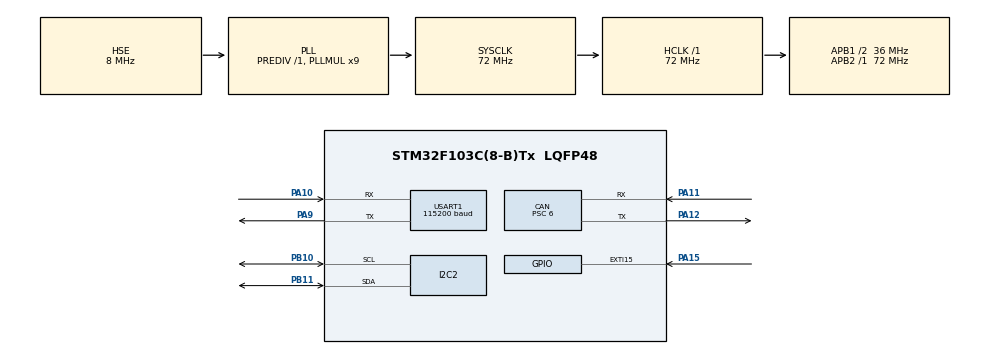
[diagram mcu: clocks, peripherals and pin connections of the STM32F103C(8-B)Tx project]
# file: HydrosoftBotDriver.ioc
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CAN.BS1=CAN_BS1_4TQ
CAN.CalculateBaudRate=999999
CAN.CalculateTimeBit=1000
CAN.CalculateTimeQuantum=166.66666666666669
CAN.Prescaler=6
Dma.Request0=USART1_TX
Dma.Request1=USART1_RX
Dma.USART1_RX.1.Direction=DMA_PERIPH_TO_MEMORY
Dma.USART1_RX.1.Instance=DMA1_Channel5
Dma.USART1_RX.1.MemDataAlignment=DMA_MDATAALIGN_BYTE
Dma.USART1_RX.1.MemInc=DMA_MINC_ENABLE
Dma.USART1_RX.1.Mode=DMA_NORMAL
Dma.USART1_RX.1.PeriphDataAlignment=DMA_PDATAALIGN_BYTE
Dma.USART1_RX.1.PeriphInc=DMA_PINC_DISABLE
Dma.USART1_RX.1.Priority=DMA_PRIORITY_VERY_HIGH
Dma.USART1_TX.0.Direction=DMA_MEMORY_TO_PERIPH
Dma.USART1_TX.0.Instance=DMA1_Channel4
Dma.USART1_TX.0.MemDataAlignment=DMA_MDATAALIGN_BYTE
Dma.USART1_TX.0.MemInc=DMA_MINC_ENABLE
Dma.USART1_TX.0.Mode=DMA_NORMAL
Dma.USART1_TX.0.PeriphDataAlignment=DMA_PDATAALIGN_BYTE
Dma.USART1_TX.0.PeriphInc=DMA_PINC_DISABLE
Dma.USART1_TX.0.Priority=DMA_PRIORITY_HIGH
FREERTOS.INCLUDE_vTaskDelayUntil=1
FREERTOS.MEMORY_ALLOCATION=1
FREERTOS.Tasks01=sensorTask,2,1024,sensorTaskFunc,Default,NULL,Static,sensorTaskBuffer,sensorTaskControlBlock;communicationTa,1,1024,communicationTaskFunc,Default,NULL,Static,communicationTaskBuffer,communicationTaskControlBlock
FREERTOS.configUSE_NEWLIB_REENTRANT=1
I2C2.I2C_Mode=I2C_Fast
Mcu.Family=STM32F1
Mcu.Name=STM32F103C(8-B)Tx
Mcu.Package=LQFP48
NVIC.CAN1_RX1_IRQn=true\:5\:0\:false\:false\:true\:true\:true\:true
NVIC.DMA1_Channel4_IRQn=true\:5\:0\:false\:false\:true\:true\:false\:true
NVIC.DMA1_Channel5_IRQn=true\:5\:0\:false\:false\:true\:true\:false\:true
NVIC.EXTI15_10_IRQn=true\:5\:0\:false\:false\:true\:true\:true\:true
NVIC.I2C2_EV_IRQn=true\:5\:0\:false\:false\:true\:true\:true\:true
NVIC.PriorityGroup=NVIC_PRIORITYGROUP_4
NVIC.TIM3_IRQn=true\:15\:0\:false\:false\:true\:false\:true\:true
NVIC.TimeBase=TIM3_IRQn
NVIC.TimeBaseIP=TIM3
NVIC.USART1_IRQn=true\:5\:0\:false\:false\:true\:true\:true\:true
NVIC.USB_LP_CAN1_RX0_IRQn=true\:5\:0\:false\:false\:true\:true\:true\:true
PA10.Mode=Asynchronous
PA10.Signal=USART1_RX
PA11.Mode=CAN_Activate
PA11.Signal=CAN_RX
PA12.Mode=CAN_Activate
PA12.Signal=CAN_TX
PA13.Mode=Serial_Wire
PA13.Signal=SYS_JTMS-SWDIO
PA14.Mode=Serial_Wire
PA14.Signal=SYS_JTCK-SWCLK
PA15.GPIO_ModeDefaultEXTI=GPIO_MODE_IT_FALLING
PA15.GPIO_PuPd=GPIO_PULLUP
PA15.Signal=GPXTI15
PA9.Mode=Asynchronous
PA9.Signal=USART1_TX
PB10.Mode=I2C
PB10.Signal=I2C2_SCL
PB11.Mode=I2C
PB11.Signal=I2C2_SDA
PD0-OSC_IN.Mode=HSE-External-Oscillator
PD0-OSC_IN.Signal=RCC_OSC_IN
PD1-OSC_OUT.Mode=HSE-External-Oscillator
PD1-OSC_OUT.Signal=RCC_OSC_OUT
ProjectManager.HeapSize=0x200
ProjectManager.StackSize=0x400
ProjectManager.TargetToolchain=STM32CubeIDE
RCC.AHBFreq_Value=72000000
RCC.APB1CLKDivider=RCC_HCLK_DIV2
RCC.APB1Freq_Value=36000000
RCC.APB1TimFreq_Value=72000000
RCC.APB2Freq_Value=72000000
RCC.APB2TimFreq_Value=72000000
RCC.HCLKFreq_Value=72000000
RCC.PLLMUL=RCC_PLL_MUL9
RCC.PLLSourceVirtual=RCC_PLLSOURCE_HSE
RCC.SYSCLKFreq_VALUE=72000000
RCC.SYSCLKSource=RCC_SYSCLKSOURCE_PLLCLK
RCC.USBFreq_Value=72000000
USART1.BaudRate=115200
USART1.VirtualMode=VM_ASYNC
VP_CRC_VS_CRC.Mode=CRC_Activate
VP_FREERTOS_VS_CMSIS_V1.Mode=CMSIS_V1
VP_SYS_VS_tim3.Mode=TIM3
VP_TIM2_VS_ClockSourceINT.Mode=Internal
board=custom

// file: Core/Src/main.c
/* USER CODE BEGIN Header */
/**
  ******************************************************************************
  * @file           : main.c
  * @brief          : Main program body
  ******************************************************************************
  * @attention
  *
  * <h2><center>&copy; Copyright (c) 2021 STMicroelectronics.
  * All rights reserved.</center></h2>
  *
  * This software component is licensed by ST under Ultimate Liberty license
  * SLA0044, the "License"; You may not use this file except in compliance with
  * the License. You may obtain a copy of the License at:
  *                             www.st.com/SLA0044
  *
  ******************************************************************************
  */
/* USER CODE END Header */
#include "main.h"
#include "cmsis_os.h"
#include "can.h"
#include "crc.h"
#include "dma.h"
#include "i2c.h"
#include "tim.h"
#include "usart.h"
#include "gpio.h"

/* USER CODE BEGIN Includes */
#include "myMain.h"
#include "ads1115.h"
#include "myUsartFunction.h"
/* USER CODE END Includes */

void SystemClock_Config(void);
void MX_FREERTOS_Init(void);

int main(void)
{

  /* MCU Configuration--------------------------------------------------------*/

  /* Reset of all peripherals, Initializes the Flash interface and the Systick. */
  HAL_Init();

  /* Configure the system clock */
  SystemClock_Config();

  /* Initialize all configured peripherals */
  MX_GPIO_Init();
  MX_CAN_Init();
  MX_CRC_Init();
  MX_I2C2_Init();
  MX_TIM2_Init();
  MX_DMA_Init();
  MX_USART1_UART_Init();
  /* USER CODE BEGIN 2 */
  setup();

  /* USER CODE END 2 */

  /* Call init function for freertos objects (in freertos.c) */
  MX_FREERTOS_Init();
  /* Start scheduler */
  osKernelStart();

  /* We should never get here as control is now taken by the scheduler */
  /* Infinite loop */
  while (1)
  {

  }
}

void SystemClock_Config(void)
{
  RCC_OscInitTypeDef RCC_OscInitStruct = {0};
  RCC_ClkInitTypeDef RCC_ClkInitStruct = {0};

  /** Initializes the RCC Oscillators according to the specified parameters
  * in the RCC_OscInitTypeDef structure.
  */
  RCC_OscInitStruct.OscillatorType = RCC_OSCILLATORTYPE_HSE;
  RCC_OscInitStruct.HSEState = RCC_HSE_ON;
  RCC_OscInitStruct.HSEPredivValue = RCC_HSE_PREDIV_DIV1;
  RCC_OscInitStruct.HSIState = RCC_HSI_ON;
  RCC_OscInitStruct.PLL.PLLState = RCC_PLL_ON;
  RCC_OscInitStruct.PLL.PLLSource = RCC_PLLSOURCE_HSE;
  RCC_OscInitStruct.PLL.PLLMUL = RCC_PLL_MUL9;
  if (HAL_RCC_OscConfig(&RCC_OscInitStruct) != HAL_OK)
  {
    Error_Handler();
  }
  /** Initializes the CPU, AHB and APB buses clocks
  */
  RCC_ClkInitStruct.ClockType = RCC_CLOCKTYPE_HCLK|RCC_CLOCKTYPE_SYSCLK
                              |RCC_CLOCKTYPE_PCLK1|RCC_CLOCKTYPE_PCLK2;
  RCC_ClkInitStruct.SYSCLKSource = RCC_SYSCLKSOURCE_PLLCLK;
  RCC_ClkInitStruct.AHBCLKDivider = RCC_SYSCLK_DIV1;
  RCC_ClkInitStruct.APB1CLKDivider = RCC_HCLK_DIV2;
  RCC_ClkInitStruct.APB2CLKDivider = RCC_HCLK_DIV1;

  if (HAL_RCC_ClockConfig(&RCC_ClkInitStruct, FLASH_LATENCY_2) != HAL_OK)
  {
    Error_Handler();
  }
}

/* USER CODE BEGIN 4 */
void HAL_GPIO_EXTI_Callback(uint16_t GPIO_Pin){
//	if(GPIO_Pin == GPIO_PIN_15){
//		ads1115_Callback();
//		ads1115_Unblocked_Callback();
//	}
}
extern uint8_t grxBuf[12];
void HAL_UARTEx_RxEventCallback(UART_HandleTypeDef *huart, uint16_t Size){

	if(Size == 12 && grxBuf[0] == 0x5a && grxBuf[1] == 0x5a){
		serialCallback();
	}
}

/* USER CODE END 4 */

void HAL_TIM_PeriodElapsedCallback(TIM_HandleTypeDef *htim)
{
  if (htim->Instance == TIM3) {
    HAL_IncTick();
  }
}

void Error_Handler(void)
{
  __disable_irq();
  while (1)
  {
  }
}

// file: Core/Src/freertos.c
/* USER CODE BEGIN Header */
/**
 ******************************************************************************
 * File Name          : freertos.c
 * Description        : Code for freertos applications
 ******************************************************************************
 * @attention
 *
 * <h2><center>&copy; Copyright (c) 2021 STMicroelectronics.
 * All rights reserved.</center></h2>
 *
 * This software component is licensed by ST under Ultimate Liberty license
 * SLA0044, the "License"; You may not use this file except in compliance with
 * the License. You may obtain a copy of the License at:
 *                             www.st.com/SLA0044
 *
 ******************************************************************************
 */
/* USER CODE END Header */

#include "FreeRTOS.h"
#include "task.h"
#include "main.h"
#include "cmsis_os.h"

/* USER CODE BEGIN Includes */
#include "myMain.h"
#include "HydroDriveLL.h"
int32_t globalSensorTaskPeriod = 10;      //10 ms period for loop()  (100Hz)
int32_t globalCommunicationTaskPeriod = 5;     //5 ms period for loop2()  (200Hz)

/* USER CODE END Includes */

osThreadId sensorTaskHandle;
uint32_t sensorTaskBuffer[ 1024 ];
osStaticThreadDef_t sensorTaskControlBlock;
osThreadId communicationTaHandle;
uint32_t communicationTaskBuffer[ 1024 ];
osStaticThreadDef_t communicationTaskControlBlock;

void sensorTaskFunc(void const * argument);
void communicationTaskFunc(void const * argument);

void MX_FREERTOS_Init(void); /* (MISRA C 2004 rule 8.1) */

/* GetIdleTaskMemory prototype (linked to static allocation support) */
void vApplicationGetIdleTaskMemory( StaticTask_t **ppxIdleTaskTCBBuffer, StackType_t **ppxIdleTaskStackBuffer, uint32_t *pulIdleTaskStackSize );

/* USER CODE BEGIN GET_IDLE_TASK_MEMORY */
static StaticTask_t xIdleTaskTCBBuffer;
static StackType_t xIdleStack[configMINIMAL_STACK_SIZE];

void vApplicationGetIdleTaskMemory(StaticTask_t **ppxIdleTaskTCBBuffer,
		StackType_t **ppxIdleTaskStackBuffer, uint32_t *pulIdleTaskStackSize) {
	*ppxIdleTaskTCBBuffer = &xIdleTaskTCBBuffer;
	*ppxIdleTaskStackBuffer = &xIdleStack[0];
	*pulIdleTaskStackSize = configMINIMAL_STACK_SIZE;
	/* place for user code */
}
/* USER CODE END GET_IDLE_TASK_MEMORY */

void MX_FREERTOS_Init(void) {

  /* Create the thread(s) */
  /* definition and creation of sensorTask */
  osThreadStaticDef(sensorTask, sensorTaskFunc, osPriorityHigh, 0, 1024, sensorTaskBuffer, &sensorTaskControlBlock);
  sensorTaskHandle = osThreadCreate(osThread(sensorTask), NULL);

  /* definition and creation of communicationTa */
  osThreadStaticDef(communicationTa, communicationTaskFunc, osPriorityAboveNormal, 0, 1024, communicationTaskBuffer, &communicationTaskControlBlock);
  communicationTaHandle = osThreadCreate(osThread(communicationTa), NULL);

}

void sensorTaskFunc(void const * argument)
{
  /* USER CODE BEGIN sensorTaskFunc */
	TickType_t xLastWakeTime = xTaskGetTickCount();
	TickType_t sensorTaskPeriod = pdMS_TO_TICKS(1);
	static int32_t loopTick = 0;

	/* Infinite loop */
	for (;;) {

		if (++loopTick >= globalSensorTaskPeriod) {
			loopTick = 0;
			loop();
//			PWMWriteFlush();
		}
		vTaskDelayUntil(&xLastWakeTime, sensorTaskPeriod);

	}
  /* USER CODE END sensorTaskFunc */
}

void communicationTaskFunc(void const * argument)
{
  /* USER CODE BEGIN communicationTaskFunc */
	TickType_t xLastWakeTime = xTaskGetTickCount();
	TickType_t communicationTaskPeriod = pdMS_TO_TICKS(1);
	static int32_t loopTick = 0;

	/* Infinite loop */
	for (;;) {

		if (++loopTick >= globalCommunicationTaskPeriod) {
			loopTick = 0;
			loop2();
		}
		vTaskDelayUntil(&xLastWakeTime, communicationTaskPeriod);

	}
  /* USER CODE END communicationTaskFunc */
}

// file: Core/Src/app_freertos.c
/* USER CODE BEGIN Header */
/**
  ******************************************************************************
  * File Name          : app_freertos.c
  * Description        : Code for freertos applications
  ******************************************************************************
  * @attention
  *
  * Copyright (c) 2022 STMicroelectronics.
  * All rights reserved.
  *
  * This software is licensed under terms that can be found in the LICENSE file
  * in the root directory of this software component.
  * If no LICENSE file comes with this software, it is provided AS-IS.
  *
  ******************************************************************************
  */
/* USER CODE END Header */

#include "FreeRTOS.h"
#include "task.h"
#include "main.h"

/* GetIdleTaskMemory prototype (linked to static allocation support) */
void vApplicationGetIdleTaskMemory( StaticTask_t **ppxIdleTaskTCBBuffer, StackType_t **ppxIdleTaskStackBuffer, uint32_t *pulIdleTaskStackSize );

/* USER CODE BEGIN GET_IDLE_TASK_MEMORY */
static StaticTask_t xIdleTaskTCBBuffer;
static StackType_t xIdleStack[configMINIMAL_STACK_SIZE];

void vApplicationGetIdleTaskMemory( StaticTask_t **ppxIdleTaskTCBBuffer, StackType_t **ppxIdleTaskStackBuffer, uint32_t *pulIdleTaskStackSize )
{
  *ppxIdleTaskTCBBuffer = &xIdleTaskTCBBuffer;
  *ppxIdleTaskStackBuffer = &xIdleStack[0];
  *pulIdleTaskStackSize = configMINIMAL_STACK_SIZE;
  /* place for user code */
}
/* USER CODE END GET_IDLE_TASK_MEMORY */
